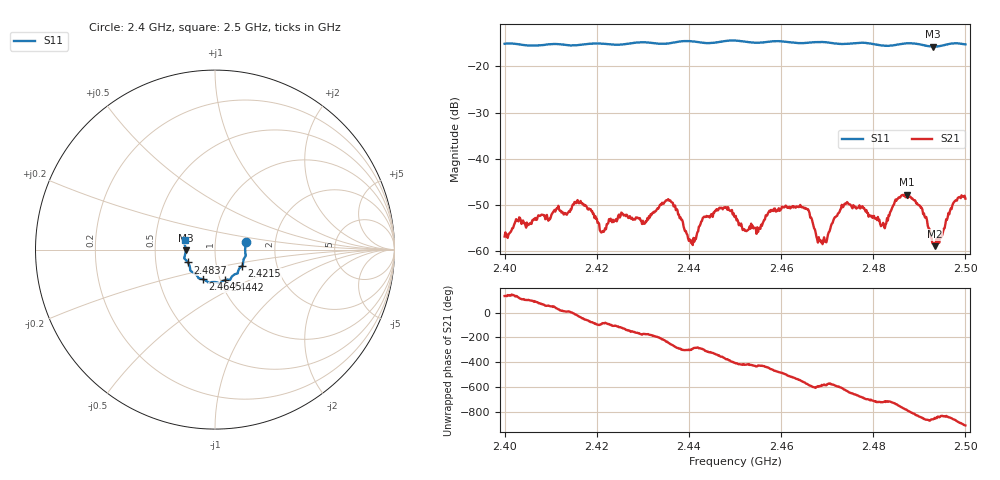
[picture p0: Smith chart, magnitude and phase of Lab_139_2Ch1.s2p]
# Hz S RI R 50
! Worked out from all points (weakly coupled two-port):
!   601 points, 2.4 GHz to 2.5 GHz, reference 50 ohm
!   highest |S21| = -47.76 dB at 2.4873 GHz (marker M1); lowest = -58.9 dB at 2.4933 GHz (marker M2)
!   lowest |S11| = -15.7 dB at 2.493 GHz (marker M3), VSWR 1.39, Z = 35.9 - j0.217 ohm
!   |S11| at or under -10 dB: start of sweep to end of sweep
!   S12 and S22 are empty: the file has one direction only
!   S11 on the Smith chart (normalised r, x): 2.4 GHz: 1.41, +0.12; 2.4215 GHz: 1.33, -0.25; 2.4442 GHz: 1.05, -0.37; 2.4645 GHz: 0.83, -0.29; 2.4837 GHz: 0.73, -0.11; 2.5 GHz: 0.71, +0.07
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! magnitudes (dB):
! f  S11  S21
! 2.4 GHz  -15.1  -56.8
! 2.4167 GHz  -15.3  -49.6
! 2.4215 GHz  -15.1  -55.8
! 2.4333 GHz  -15.1  -50.8
! 2.436 GHz  -15.0  -49.1
! 2.4403 GHz  -14.5  -57.8
! 2.4442 GHz  -15.0  -52.4
! 2.45 GHz  -14.4  -52.6
! 2.455 GHz  -14.9  -55.8
! 2.4577 GHz  -14.6  -51.5
! 2.4645 GHz  -15.0  -50.5
! 2.4667 GHz  -14.8  -53.0
! 2.4693 GHz  -14.7  -57.0
! 2.4742 GHz  -15.1  -49.6
! 2.4833 GHz  -15.6  -52.2
! 2.4837 GHz  -15.5  -51.5
! 2.4873 GHz  -15.0  -47.8
! 2.4905 GHz  -15.3  -50.6
! 2.493 GHz  -15.7  -58.2
! 2.4933 GHz  -15.7  -58.9
! 2.4977 GHz  -15.0  -49.2
! 2.5 GHz  -15.3  -48.6
